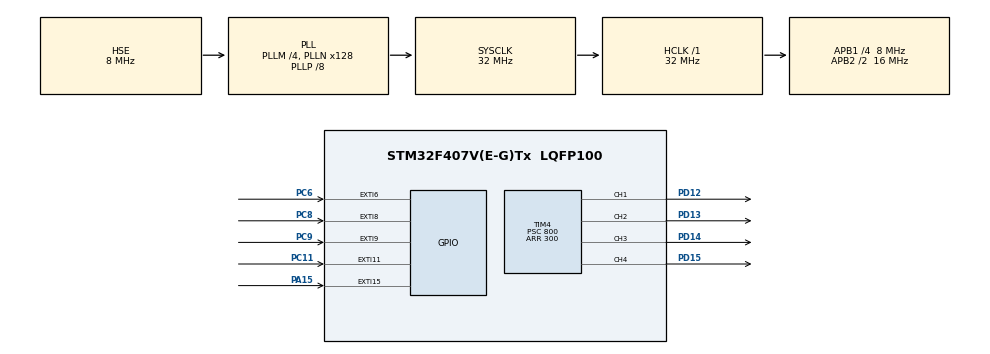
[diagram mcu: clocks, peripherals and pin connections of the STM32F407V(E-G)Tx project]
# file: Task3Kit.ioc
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Mcu.Family=STM32F4
Mcu.Name=STM32F407V(E-G)Tx
Mcu.Package=LQFP100
NVIC.EXTI15_10_IRQn=true\:0\:0\:false\:false\:true\:true\:true\:true
NVIC.EXTI9_5_IRQn=true\:0\:0\:false\:false\:true\:true\:true\:true
NVIC.PriorityGroup=NVIC_PRIORITYGROUP_4
NVIC.TIM4_IRQn=true\:0\:0\:false\:false\:true\:true\:true\:true
PA13.Mode=Serial_Wire
PA13.Signal=SYS_JTMS-SWDIO
PA14.Mode=Serial_Wire
PA14.Signal=SYS_JTCK-SWCLK
PA15.GPIO_ModeDefaultEXTI=GPIO_MODE_IT_FALLING
PA15.Signal=GPXTI15
PC11.GPIO_ModeDefaultEXTI=GPIO_MODE_IT_FALLING
PC11.Signal=GPXTI11
PC6.GPIO_ModeDefaultEXTI=GPIO_MODE_IT_FALLING
PC6.Signal=GPXTI6
PC8.GPIO_ModeDefaultEXTI=GPIO_MODE_IT_FALLING
PC8.Signal=GPXTI8
PC9.GPIO_ModeDefaultEXTI=GPIO_MODE_IT_FALLING
PC9.Signal=GPXTI9
PD12.Signal=S_TIM4_CH1
PD13.Signal=S_TIM4_CH2
PD14.Signal=S_TIM4_CH3
PD15.Signal=S_TIM4_CH4
PH0-OSC_IN.Mode=HSE-External-Oscillator
PH0-OSC_IN.Signal=RCC_OSC_IN
PH1-OSC_OUT.Mode=HSE-External-Oscillator
PH1-OSC_OUT.Signal=RCC_OSC_OUT
ProjectManager.HeapSize=0x200
ProjectManager.StackSize=0x400
ProjectManager.TargetToolchain=STM32CubeIDE
RCC.48MHZClocksFreq_Value=64000000
RCC.AHBFreq_Value=32000000
RCC.APB1CLKDivider=RCC_HCLK_DIV4
RCC.APB1Freq_Value=8000000
RCC.APB1TimFreq_Value=16000000
RCC.APB2CLKDivider=RCC_HCLK_DIV2
RCC.APB2Freq_Value=16000000
RCC.APB2TimFreq_Value=32000000
RCC.CortexFreq_Value=32000000
RCC.HCLKFreq_Value=32000000
RCC.HSE_VALUE=8000000
RCC.HSI_VALUE=16000000
RCC.LSE_VALUE=32768
RCC.PLLM=4
RCC.PLLN=128
RCC.PLLP=RCC_PLLP_DIV8
RCC.PLLSourceVirtual=RCC_PLLSOURCE_HSE
RCC.SYSCLKFreq_VALUE=32000000
RCC.SYSCLKSource=RCC_SYSCLKSOURCE_PLLCLK
RCC.VCOOutputFreq_Value=256000000
SH.S_TIM4_CH1.0=TIM4_CH1,PWM Generation1 CH1
SH.S_TIM4_CH2.0=TIM4_CH2,PWM Generation2 CH2
SH.S_TIM4_CH3.0=TIM4_CH3,PWM Generation3 CH3
SH.S_TIM4_CH4.0=TIM4_CH4,PWM Generation4 CH4
TIM4.Channel-PWM\ Generation1\ CH1=TIM_CHANNEL_1
TIM4.Channel-PWM\ Generation2\ CH2=TIM_CHANNEL_2
TIM4.Channel-PWM\ Generation3\ CH3=TIM_CHANNEL_3
TIM4.Channel-PWM\ Generation4\ CH4=TIM_CHANNEL_4
TIM4.Period=300
TIM4.Prescaler=800
VP_TIM4_VS_ClockSourceINT.Mode=Internal
board=custom

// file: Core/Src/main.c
/* USER CODE BEGIN Header */
/**
  ******************************************************************************
  * @file           : main.c
  * @brief          : Main program body
  ******************************************************************************
  * @attention
  *
  * Copyright (c) 2023 STMicroelectronics.
  * All rights reserved.
  *
  * This software is licensed under terms that can be found in the LICENSE file
  * in the root directory of this software component.
  * If no LICENSE file comes with this software, it is provided AS-IS.
  *
  ******************************************************************************
  */
/* USER CODE END Header */
#include "main.h"

/* USER CODE BEGIN Includes */
#include "stm32f4xx_it.h"
/* USER CODE END Includes */

TIM_HandleTypeDef htim4;

void SystemClock_Config(void);
static void MX_GPIO_Init(void);
static void MX_TIM4_Init(void);

int main(void)
{

  /* MCU Configuration--------------------------------------------------------*/

  /* Reset of all peripherals, Initializes the Flash interface and the Systick. */
  HAL_Init();

  /* Configure the system clock */
  SystemClock_Config();

  /* Initialize all configured peripherals */
  MX_GPIO_Init();
  MX_TIM4_Init();

  /* Infinite loop */
  /* USER CODE BEGIN WHILE */
  HAL_TIM_Base_Start_IT(&htim4);

  while (1)
  {
	  uint8_t dutyCycle = (getDutyCycle());
	  double frequency = (getfrequency());
	  switch (getmode())
	  {
	  case 1:
		  HAL_TIM_PWM_Start(&htim4, TIM_CHANNEL_1);
		  TIM4->ARR = frequency;
		  TIM4->CCR1 = dutyCycle;
		  break;
	  case 2:
		  HAL_TIM_PWM_Stop(&htim4, TIM_CHANNEL_1);
		  HAL_TIM_PWM_Start(&htim4, TIM_CHANNEL_2);
		  TIM4->ARR = frequency;
		  TIM4->CCR2 = dutyCycle;
		  break;
	  case 3:
		  HAL_TIM_PWM_Stop(&htim4, TIM_CHANNEL_2);
		  HAL_TIM_PWM_Start(&htim4, TIM_CHANNEL_3);
		  TIM4->ARR = frequency;
		  TIM4->CCR3 = dutyCycle;
		  break;
	  case 4:
		  HAL_TIM_PWM_Stop(&htim4, TIM_CHANNEL_3);
		  HAL_TIM_PWM_Start(&htim4, TIM_CHANNEL_4);
		  TIM4->ARR = frequency;
		  TIM4->CCR4 = dutyCycle;
		  break;
	  case 5:
		  HAL_TIM_PWM_Stop(&htim4, TIM_CHANNEL_4);
		  break;
	  }
    /* USER CODE END WHILE */

  }
}

void SystemClock_Config(void)
{
  RCC_OscInitTypeDef RCC_OscInitStruct = {0};
  RCC_ClkInitTypeDef RCC_ClkInitStruct = {0};

  /** Configure the main internal regulator output voltage
  */
  __HAL_RCC_PWR_CLK_ENABLE();
  __HAL_PWR_VOLTAGESCALING_CONFIG(PWR_REGULATOR_VOLTAGE_SCALE1);

  /** Initializes the RCC Oscillators according to the specified parameters
  * in the RCC_OscInitTypeDef structure.
  */
  RCC_OscInitStruct.OscillatorType = RCC_OSCILLATORTYPE_HSE;
  RCC_OscInitStruct.HSEState = RCC_HSE_ON;
  RCC_OscInitStruct.PLL.PLLState = RCC_PLL_ON;
  RCC_OscInitStruct.PLL.PLLSource = RCC_PLLSOURCE_HSE;
  RCC_OscInitStruct.PLL.PLLM = 4;
  RCC_OscInitStruct.PLL.PLLN = 128;
  RCC_OscInitStruct.PLL.PLLP = RCC_PLLP_DIV8;
  RCC_OscInitStruct.PLL.PLLQ = 4;
  if (HAL_RCC_OscConfig(&RCC_OscInitStruct) != HAL_OK)
  {
    Error_Handler();
  }

  /** Initializes the CPU, AHB and APB buses clocks
  */
  RCC_ClkInitStruct.ClockType = RCC_CLOCKTYPE_HCLK|RCC_CLOCKTYPE_SYSCLK
                              |RCC_CLOCKTYPE_PCLK1|RCC_CLOCKTYPE_PCLK2;
  RCC_ClkInitStruct.SYSCLKSource = RCC_SYSCLKSOURCE_PLLCLK;
  RCC_ClkInitStruct.AHBCLKDivider = RCC_SYSCLK_DIV1;
  RCC_ClkInitStruct.APB1CLKDivider = RCC_HCLK_DIV4;
  RCC_ClkInitStruct.APB2CLKDivider = RCC_HCLK_DIV2;

  if (HAL_RCC_ClockConfig(&RCC_ClkInitStruct, FLASH_LATENCY_1) != HAL_OK)
  {
    Error_Handler();
  }
}

static void MX_TIM4_Init(void)
{

  TIM_ClockConfigTypeDef sClockSourceConfig = {0};
  TIM_MasterConfigTypeDef sMasterConfig = {0};
  TIM_OC_InitTypeDef sConfigOC = {0};

  htim4.Instance = TIM4;
  htim4.Init.Prescaler = 800;
  htim4.Init.CounterMode = TIM_COUNTERMODE_UP;
  htim4.Init.Period = 300;
  htim4.Init.ClockDivision = TIM_CLOCKDIVISION_DIV1;
  htim4.Init.AutoReloadPreload = TIM_AUTORELOAD_PRELOAD_DISABLE;
  if (HAL_TIM_Base_Init(&htim4) != HAL_OK)
  {
    Error_Handler();
  }
  sClockSourceConfig.ClockSource = TIM_CLOCKSOURCE_INTERNAL;
  if (HAL_TIM_ConfigClockSource(&htim4, &sClockSourceConfig) != HAL_OK)
  {
    Error_Handler();
  }
  if (HAL_TIM_PWM_Init(&htim4) != HAL_OK)
  {
    Error_Handler();
  }
  sMasterConfig.MasterOutputTrigger = TIM_TRGO_RESET;
  sMasterConfig.MasterSlaveMode = TIM_MASTERSLAVEMODE_DISABLE;
  if (HAL_TIMEx_MasterConfigSynchronization(&htim4, &sMasterConfig) != HAL_OK)
  {
    Error_Handler();
  }
  sConfigOC.OCMode = TIM_OCMODE_PWM1;
  sConfigOC.Pulse = 0;
  sConfigOC.OCPolarity = TIM_OCPOLARITY_HIGH;
  sConfigOC.OCFastMode = TIM_OCFAST_DISABLE;
  if (HAL_TIM_PWM_ConfigChannel(&htim4, &sConfigOC, TIM_CHANNEL_1) != HAL_OK)
  {
    Error_Handler();
  }
  if (HAL_TIM_PWM_ConfigChannel(&htim4, &sConfigOC, TIM_CHANNEL_2) != HAL_OK)
  {
    Error_Handler();
  }
  if (HAL_TIM_PWM_ConfigChannel(&htim4, &sConfigOC, TIM_CHANNEL_3) != HAL_OK)
  {
    Error_Handler();
  }
  if (HAL_TIM_PWM_ConfigChannel(&htim4, &sConfigOC, TIM_CHANNEL_4) != HAL_OK)
  {
    Error_Handler();
  }
  HAL_TIM_MspPostInit(&htim4);

}

static void MX_GPIO_Init(void)
{
  GPIO_InitTypeDef GPIO_InitStruct = {0};

  /* GPIO Ports Clock Enable */
  __HAL_RCC_GPIOH_CLK_ENABLE();
  __HAL_RCC_GPIOD_CLK_ENABLE();
  __HAL_RCC_GPIOC_CLK_ENABLE();
  __HAL_RCC_GPIOA_CLK_ENABLE();

  /*Configure GPIO pins : PC6 PC8 PC9 PC11 */
  GPIO_InitStruct.Pin = GPIO_PIN_6|GPIO_PIN_8|GPIO_PIN_9|GPIO_PIN_11;
  GPIO_InitStruct.Mode = GPIO_MODE_IT_FALLING;
  GPIO_InitStruct.Pull = GPIO_NOPULL;
  HAL_GPIO_Init(GPIOC, &GPIO_InitStruct);

  /*Configure GPIO pin : PA15 */
  GPIO_InitStruct.Pin = GPIO_PIN_15;
  GPIO_InitStruct.Mode = GPIO_MODE_IT_FALLING;
  GPIO_InitStruct.Pull = GPIO_NOPULL;
  HAL_GPIO_Init(GPIOA, &GPIO_InitStruct);

  /* EXTI interrupt init*/
  HAL_NVIC_SetPriority(EXTI9_5_IRQn, 0, 0);
  HAL_NVIC_EnableIRQ(EXTI9_5_IRQn);

  HAL_NVIC_SetPriority(EXTI15_10_IRQn, 0, 0);
  HAL_NVIC_EnableIRQ(EXTI15_10_IRQn);

}

void Error_Handler(void)
{
  __disable_irq();
  while (1)
  {
  }
}
